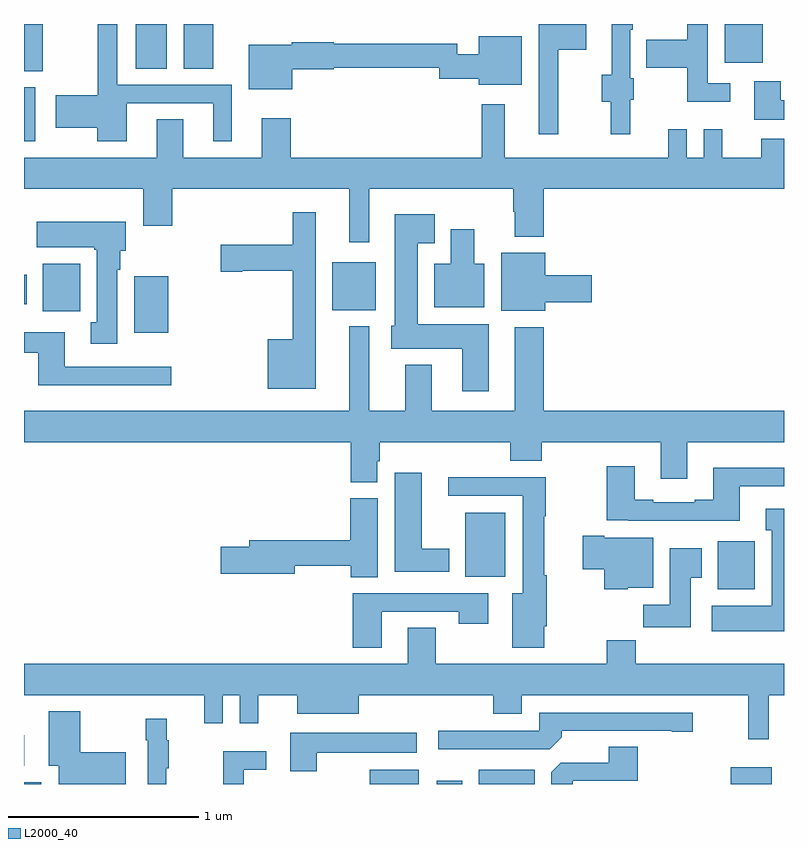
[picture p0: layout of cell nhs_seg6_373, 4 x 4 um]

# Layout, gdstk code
import gdstk
lib = gdstk.Library(unit=1e-6, precision=1e-09)
def R(c, l, rs):  # rectangles x0, y0, x1, y1
    for r in rs: c.add(gdstk.rectangle(r[:2], r[2:], *l))
def P(c, l, *ps):  # polygons
    for p in ps: c.add(gdstk.Polygon(p, *l))
L2000_40 = (2000, 40)

nhs_seg6_373 = lib.new_cell('nhs_seg6_373')
R(nhs_seg6_373, L2000_40, [(131,981.5,131.092,981.508), (132.821,981.5,133.078,981.574), (133.172,981.5,133.306,981.517), (133.394,981.5,133.687,981.574), (134.72,981.5,134.935,981.589), (131,981.597,131.002,981.757), (134.651,982.526,134.847,982.777), (133.322,982.592,133.534,982.927), (131.579,983.876,131.758,984.172), (131.099,983.988,131.295,984.238), (132.623,983.993,132.85,984.247), (131,984.024,131.014,984.18), (131,984.882,131.059,985.167), (131,985.252,131.098,985.5), (131.588,985.264,131.752,985.5), (131.84,985.264,131.995,985.5), (134.687,985.295,134.887,985.5)])
P(nhs_seg6_373, L2000_40, [(133.813,985.364),(133.96,985.364),(133.96,985.5),(133.709,985.5),(133.709,984.921),(133.813,984.921)],
  [(134.716,985.188),(134.598,985.188),(134.598,985.5),(134.49,985.5),(134.49,985.417),(134.275,985.417),(134.275,985.27),(134.49,985.27),(134.49,985.091),(134.716,985.091)],
  [(131.542,985.083),(131.996,985.083),(131.996,984.882),(132.094,984.882),(132.094,985.179),(131.49,985.179),(131.49,985.5),(131.389,985.5),(131.389,985.124),(131.166,985.124),(131.166,984.953),(131.386,984.953),(131.386,984.882),(131.542,984.882)],
  [(134.192,985.101),(134.208,985.101),(134.208,985.215),(134.19,985.215),(134.19,985.469),(134.203,985.469),(134.203,985.5),(134.093,985.5),(134.093,985.232),(134.042,985.232),(134.042,985.09),(134.089,985.09),(134.089,984.921),(134.192,984.921)],
  [(132.412,985.261),(132.63,985.261),(132.63,985.269),(133.185,985.269),(133.185,985.212),(133.394,985.212),(133.394,985.181),(133.621,985.181),(133.621,985.435),(133.394,985.435),(133.394,985.34),(133.281,985.34),(133.281,985.397),(132.63,985.397),(132.63,985.403),(132.408,985.403),(132.408,985.39),(132.182,985.39),(132.182,985.157),(132.412,985.157)],
  [(135,985.099),(134.983,985.099),(134.983,985.198),(134.843,985.198),(134.843,984.995),(135,984.995)],
  [(132.817,984.632),(133.576,984.632),(133.576,984.512),(133.583,984.512),(133.583,984.38),(133.736,984.38),(133.736,984.632),(135,984.632),(135,984.895),(134.879,984.895),(134.879,984.796),(134.675,984.796),(134.675,984.946),(134.577,984.946),(134.577,984.796),(134.487,984.796),(134.487,984.946),(134.39,984.946),(134.39,984.796),(133.531,984.796),(133.531,985.078),(133.41,985.078),(133.41,984.796),(132.404,984.796),(132.404,985.003),(132.251,985.003),(132.251,984.796),(131.839,984.796),(131.839,984.998),(131.699,984.998),(131.699,984.796),(131,984.796),(131,984.632),(131.627,984.632),(131.627,984.438),(131.78,984.438),(131.78,984.632),(132.713,984.632),(132.713,984.351),(132.817,984.351)],
  [(132.535,984.508),(132.414,984.508),(132.414,984.339),(132.036,984.339),(132.036,984.197),(132.148,984.197),(132.148,984.202),(132.414,984.202),(132.414,983.842),(132.284,983.842),(132.284,983.579),(132.535,983.579)],
  [(133.447,983.92),(133.072,983.92),(133.072,984.347),(133.162,984.347),(133.162,984.499),(132.95,984.499),(132.95,983.913),(132.932,983.913),(132.932,983.792),(133.307,983.792),(133.307,983.568),(133.447,983.568)],
  [(131.491,984.206),(131.506,984.206),(131.506,984.306),(131.536,984.306),(131.536,984.46),(131.067,984.46),(131.067,984.326),(131.371,984.326),(131.371,984.313),(131.384,984.313),(131.384,983.929),(131.351,983.929),(131.351,983.817),(131.491,983.817)],
  [(133.423,984.238),(133.369,984.238),(133.369,984.421),(133.247,984.421),(133.247,984.238),(133.16,984.238),(133.16,984.008),(133.423,984.008)],
  [(133.744,984.035),(133.987,984.035),(133.987,984.177),(133.744,984.177),(133.744,984.295),(133.511,984.295),(133.511,983.99),(133.744,983.99)],
  [(133.559,983.201),(133.724,983.201),(133.724,983.3),(134.351,983.3),(134.351,983.106),(134.491,983.106),(134.491,983.3),(135,983.3),(135,983.464),(133.736,983.464),(133.736,983.905),(133.583,983.905),(133.583,983.464),(133.147,983.464),(133.147,983.707),(133.007,983.707),(133.007,983.464),(132.817,983.464),(132.817,983.908),(132.713,983.908),(132.713,983.464),(131,983.464),(131,983.3),(132.719,983.3),(132.719,983.089),(132.859,983.089),(132.859,983.199),(132.872,983.199),(132.872,983.3),(133.559,983.3)],
  [(131.776,983.697),(131.215,983.697),(131.215,983.878),(131,983.878),(131,983.769),(131.075,983.769),(131.075,983.6),(131.776,983.6)],
  [(134.767,983.067),(135,983.067),(135,983.164),(134.627,983.164),(134.627,982.996),(134.531,982.996),(134.531,982.983),(134.311,982.983),(134.311,982.996),(134.215,982.996),(134.215,983.173),(134.068,983.173),(134.068,982.887),(134.179,982.887),(134.179,982.886),(134.767,982.886)],
  [(133.237,982.738),(133.093,982.738),(133.093,983.137),(132.95,983.137),(132.95,982.616),(133.237,982.616)],
  [(133.738,982.33),(133.751,982.33),(133.751,982.6),(133.738,982.6),(133.738,982.909),(133.746,982.909),(133.746,983.114),(133.233,983.114),(133.233,983.016),(133.625,983.016),(133.625,982.504),(133.571,982.504),(133.571,982.218),(133.738,982.218)],
  [(132.862,983.004),(132.716,983.004),(132.716,982.784),(132.185,982.784),(132.185,982.748),(132.036,982.748),(132.036,982.606),(132.424,982.606),(132.424,982.648),(132.721,982.648),(132.721,982.588),(132.862,982.588)],
  [(135,982.948),(134.903,982.948),(134.903,982.835),(134.936,982.835),(134.936,982.438),(134.619,982.438),(134.619,982.304),(135,982.304)],
  [(134.178,982.532),(134.311,982.532),(134.311,982.795),(134.053,982.795),(134.053,982.807),(133.941,982.807),(133.941,982.63),(134.053,982.63),(134.053,982.526),(134.178,982.526)],
  [(134.509,982.585),(134.566,982.585),(134.566,982.741),(134.399,982.741),(134.399,982.444),(134.26,982.444),(134.26,982.326),(134.509,982.326)],
  [(132.883,982.407),(133.288,982.407),(133.288,982.344),(133.444,982.344),(133.444,982.503),(132.731,982.503),(132.731,982.218),(132.883,982.218)],
  [(134.921,981.968),(135,981.968),(135,982.132),(134.219,982.132),(134.219,982.256),(134.068,982.256),(134.068,982.132),(133.167,982.132),(133.167,982.322),(133.019,982.322),(133.019,982.132),(131,982.132),(131,981.968),(131.948,981.968),(131.948,981.819),(132.045,981.819),(132.045,981.968),(132.135,981.968),(132.135,981.819),(132.233,981.819),(132.233,981.968),(132.437,981.968),(132.437,981.869),(132.763,981.869),(132.763,981.968),(133.469,981.968),(133.469,981.869),(133.621,981.869),(133.621,981.968),(134.811,981.968),(134.811,981.735),(134.921,981.735)],
  [(131.536,981.667),(131.296,981.667),(131.296,981.883),(131.129,981.883),(131.129,981.596),(131.183,981.596),(131.183,981.5),(131.536,981.5)],
  [(133.829,981.746),(133.829,981.78),(134.408,981.78),(134.408,981.775),(134.521,981.775),(134.521,981.876),(133.713,981.876),(133.713,981.78),(133.179,981.78),(133.179,981.684),(133.767,981.684)],
  [(131.748,981.583),(131.761,981.583),(131.761,981.731),(131.75,981.731),(131.75,981.844),(131.64,981.844),(131.64,981.731),(131.652,981.731),(131.652,981.5),(131.748,981.5)],
  [(132.541,981.665),(133.066,981.665),(133.066,981.769),(132.401,981.769),(132.401,981.567),(132.541,981.567)],
  [(133.887,981.516),(134.231,981.516),(134.231,981.695),(134.078,981.695),(134.078,981.612),(133.824,981.612),(133.775,981.563),(133.775,981.5),(133.887,981.5)],
  [(132.156,981.576),(132.274,981.576),(132.274,981.673),(132.048,981.673),(132.048,981.5),(132.156,981.5)])

lib.write_gds('nhs_seg6_373.gds')
